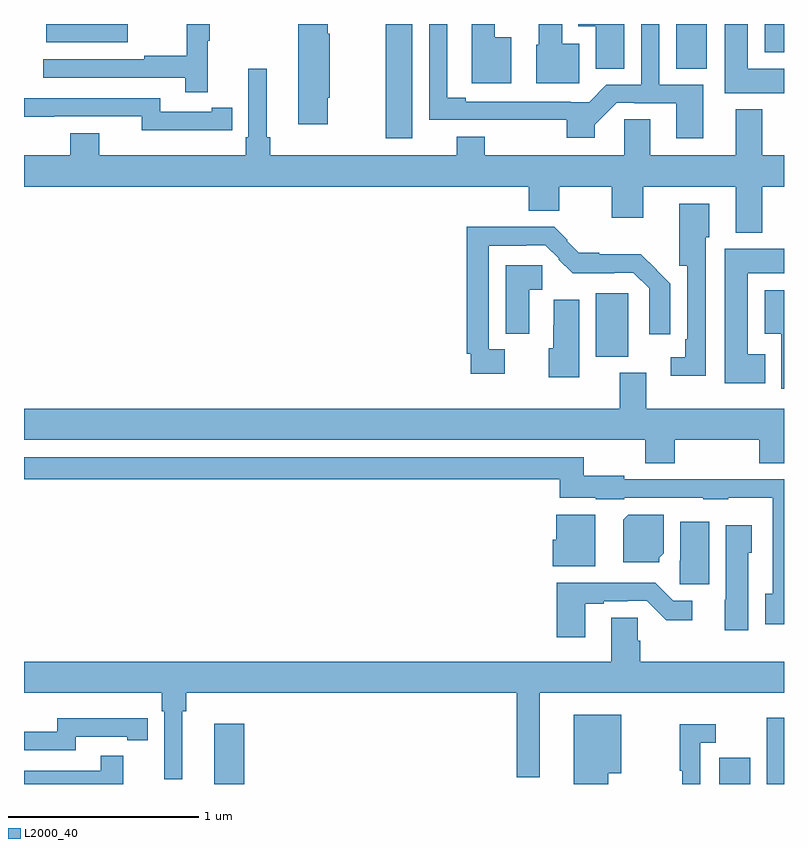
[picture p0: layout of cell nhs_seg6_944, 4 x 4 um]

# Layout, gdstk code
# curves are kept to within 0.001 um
import gdstk
lib = gdstk.Library(unit=1e-6, precision=1e-09)
def R(c, l, rs):  # rectangles x0, y0, x1, y1
    for r in rs: c.add(gdstk.rectangle(r[:2], r[2:], *l))
def P(c, l, *ps):  # polygons
    for p in ps: c.add(gdstk.Polygon(p, *l))
L2000_40 = (2000, 40)

nhs_seg6_944 = lib.new_cell('nhs_seg6_944')
R(nhs_seg6_944, L2000_40, [(170,969.5,170.159,969.817), (172.658,969.5,172.822,969.637), (172.91,969.5,173,969.85), (172.01,971.75,172.18,972.084), (170.905,972.9,171.043,973.5), (172.433,973.264,172.594,973.5), (172.898,973.352,173,973.5), (169.118,973.403,169.546,973.5)])
P(nhs_seg6_944, L2000_40, [(173,973.264),(172.81,973.264),(172.81,973.5),(172.688,973.5),(172.688,973.136),(173,973.136)],
  [(169.967,973.411),(169.978,973.411),(169.978,973.5),(169.857,973.5),(169.857,973.334),(169.633,973.334),(169.633,973.314),(169.101,973.314),(169.101,973.218),(169.849,973.218),(169.849,973.14),(169.967,973.14)],
  [(172.576,973.179),(172.344,973.179),(172.344,973.5),(172.248,973.5),(172.248,973.179),(172.064,973.179),(171.974,973.089),(171.878,973.089),(171.878,973.092),(171.325,973.092),(171.325,973.112),(171.228,973.112),(171.228,973.5),(171.132,973.5),(171.132,972.996),(171.856,972.995),(171.856,972.902),(172.003,972.902),(172.003,972.97),(172.119,973.086),(172.213,973.086),(172.213,973.083),(172.433,973.083),(172.433,972.9),(172.576,972.9)],
  [(171.565,973.429),(171.478,973.429),(171.478,973.5),(171.356,973.5),(171.356,973.187),(171.565,973.187)],
  [(170.598,973.113),(170.608,973.113),(170.608,973.449),(170.598,973.449),(170.598,973.5),(170.444,973.5),(170.444,972.972),(170.598,972.972)],
  [(171.922,973.396),(171.832,973.396),(171.832,973.5),(171.71,973.5),(171.71,973.392),(171.695,973.392),(171.695,973.187),(171.922,973.187)],
  [(172.159,973.5),(171.917,973.5),(171.917,973.488),(172.01,973.488),(172.01,973.264),(172.159,973.264)],
  [(172.885,972.644),(173,972.644),(173,972.808),(172.885,972.808),(172.885,973.051),(172.745,973.051),(172.745,972.808),(172.297,972.808),(172.297,972.998),(172.158,972.998),(172.158,972.808),(171.426,972.808),(171.426,972.907),(171.278,972.907),(171.278,972.808),(170.297,972.808),(170.297,972.904),(170.278,972.904),(170.278,973.264),(170.181,973.264),(170.181,972.904),(170.168,972.904),(170.168,972.808),(169.396,972.808),(169.396,972.925),(169.244,972.925),(169.244,972.808),(169,972.808),(169,972.644),(171.656,972.644),(171.656,972.518),(171.817,972.518),(171.817,972.644),(172.094,972.644),(172.094,972.48),(172.258,972.48),(172.258,972.644),(172.745,972.644),(172.745,972.401),(172.885,972.401)],
  [(169.988,972.942),(170.096,972.942),(170.096,973.058),(169.988,973.058),(169.988,973.038),(169.716,973.038),(169.716,973.11),(169,973.11),(169,973.013),(169.16,973.013),(169.16,973.014),(169.62,973.014),(169.62,972.941),(169.988,972.941)],
  [(172.587,972.378),(172.606,972.378),(172.606,972.553),(172.448,972.553),(172.448,972.228),(172.491,972.228),(172.491,971.842),(172.479,971.842),(172.479,971.745),(172.404,971.745),(172.404,971.648),(172.587,971.648)],
  [(171.53,971.788),(171.447,971.788),(171.447,972.332),(171.644,972.332),(171.644,972.336),(171.744,972.336),(171.816,972.264),(171.813,972.261),(171.887,972.188),(172.106,972.188),(172.106,972.192),(172.206,972.192),(172.29,972.108),(172.29,971.868),(172.402,971.868),(172.402,972.132),(172.247,972.289),(172.027,972.289),(172.027,972.297),(171.919,972.297),(171.857,972.359),(171.861,972.363),(171.791,972.433),(171.331,972.433),(171.331,971.764),(171.351,971.764),(171.351,971.66),(171.53,971.66)],
  [(172.9,971.761),(172.81,971.761),(172.81,972.188),(173,972.188),(173,972.316),(172.688,972.316),(172.688,971.609),(172.9,971.609)],
  [(171.658,972.101),(171.727,972.101),(171.727,972.23),(171.536,972.23),(171.536,971.869),(171.658,971.869)],
  [(173,972.1),(172.898,972.1),(172.898,971.87),(172.985,971.87),(172.985,971.58),(173,971.58)],
  [(171.922,972.049),(171.788,972.049),(171.788,971.915),(171.785,971.915),(171.785,971.793),(171.761,971.793),(171.761,971.642),(171.922,971.642)],
  [(172.425,971.312),(172.87,971.312),(172.87,971.188),(173,971.188),(173,971.476),(172.276,971.476),(172.276,971.665),(172.136,971.665),(172.136,971.476),(169,971.476),(169,971.312),(172.27,971.312),(172.27,971.188),(172.425,971.188)],
  [(173,971.103),(172.807,971.103),(172.807,971.105),(172.575,971.105),(172.575,971.103),(172.158,971.103),(172.158,971.122),(171.946,971.122),(171.946,971.22),(169,971.22),(169,971.104),(171.821,971.104),(171.821,971.006),(172.008,971.006),(172.008,971),(172.158,971),(172.158,971.007),(172.575,971.007),(172.575,971),(172.707,971),(172.707,971.006),(172.941,971.006),(172.941,970.502),(172.901,970.502),(172.901,970.341),(173,970.341)],
  [(172.344,970.692),(172.366,970.714),(172.366,970.918),(172.18,970.918),(172.154,970.892),(172.154,970.667),(172.344,970.667)],
  [(172.006,970.916),(171.8,970.916),(171.8,970.785),(171.782,970.785),(171.782,970.646),(172.006,970.646)],
  [(172.606,970.879),(172.454,970.879),(172.454,970.674),(172.45,970.674),(172.45,970.551),(172.606,970.551)],
  [(172.813,970.716),(172.831,970.716),(172.831,970.861),(172.694,970.861),(172.694,970.47),(172.688,970.47),(172.688,970.308),(172.813,970.308)],
  [(171.955,970.449),(172.051,970.449),(172.051,970.461),(172.178,970.461),(172.178,970.464),(172.278,970.464),(172.381,970.362),(172.516,970.362),(172.516,970.464),(172.416,970.464),(172.322,970.558),(171.803,970.558),(171.803,970.272),(171.955,970.272)],
  [(169.834,969.884),(169.853,969.884),(169.853,969.98),(171.594,969.98),(171.594,969.536),(171.715,969.536),(171.715,969.98),(173,969.98),(173,970.144),(172.244,970.144),(172.244,970.254),(172.23,970.254),(172.23,970.376),(172.091,970.376),(172.091,970.144),(169,970.144),(169,969.98),(169.724,969.98),(169.724,969.884),(169.737,969.884),(169.737,969.525),(169.834,969.525)],
  [(172.075,969.557),(172.144,969.557),(172.144,969.865),(171.893,969.865),(171.893,969.5),(172.075,969.5)],
  [(169.272,969.75),(169.544,969.75),(169.544,969.73),(169.652,969.73),(169.652,969.846),(169.544,969.846),(169.544,969.847),(169.176,969.847),(169.176,969.774),(169,969.774),(169,969.678),(169.272,969.678)],
  [(172.56,969.717),(172.642,969.717),(172.642,969.814),(172.452,969.814),(172.452,969.571),(172.464,969.571),(172.464,969.5),(172.56,969.5)],
  [(169.523,969.649),(169.405,969.649),(169.405,969.57),(169,969.57),(169,969.5),(169.523,969.5)])

lib.write_gds('nhs_seg6_944.gds')
